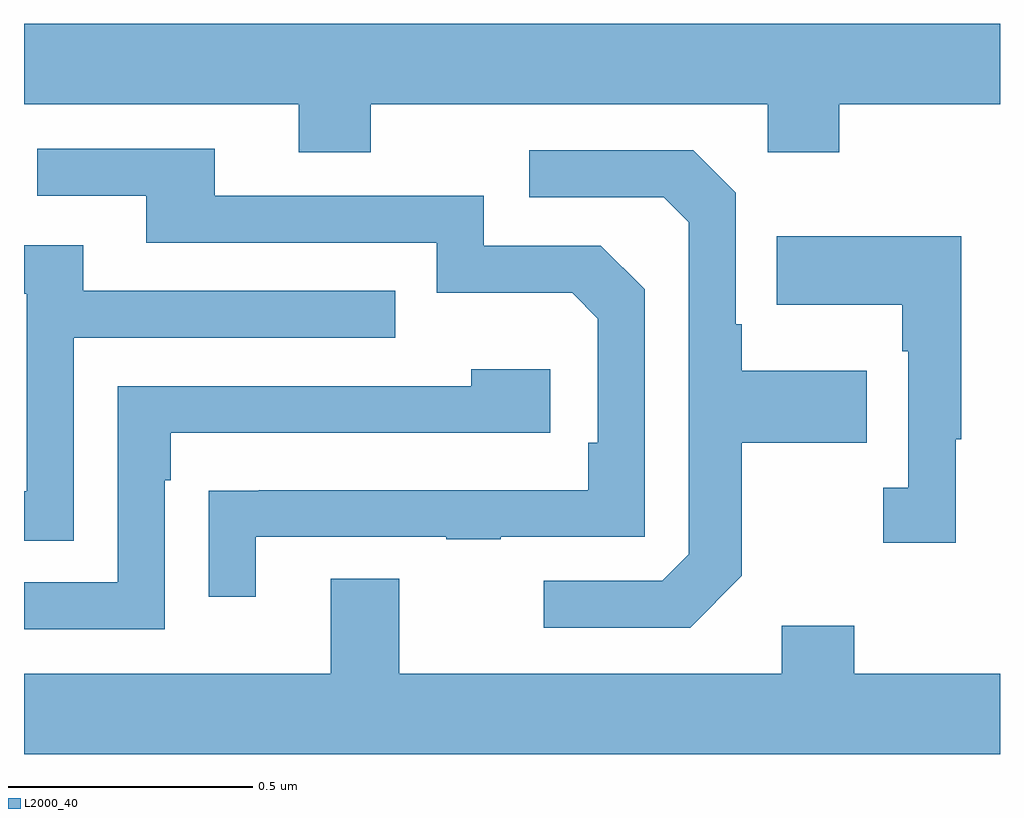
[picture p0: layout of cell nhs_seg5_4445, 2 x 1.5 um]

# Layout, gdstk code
import gdstk
lib = gdstk.Library(unit=1e-6, precision=1e-09)
def P(c, l, *ps):  # polygons
    for p in ps: c.add(gdstk.Polygon(p, *l))
L2000_40 = (2000, 40)

nhs_seg5_4445 = lib.new_cell('nhs_seg5_4445')
P(nhs_seg5_4445, L2000_40, [(171.711,835.448),(172.524,835.448),(172.524,835.349),(172.671,835.349),(172.671,835.448),(173,835.448),(173,835.612),(171,835.612),(171,835.448),(171.563,835.448),(171.563,835.349),(171.711,835.349)],
  [(171.475,834.561),(171.865,834.561),(171.865,834.556),(171.977,834.556),(171.977,834.561),(172.272,834.561),(172.272,835.068),(172.182,835.158),(171.942,835.158),(171.942,835.26),(171.391,835.26),(171.391,835.356),(171.027,835.356),(171.027,835.26),(171.251,835.26),(171.251,835.164),(171.846,835.164),(171.846,835.061),(172.123,835.061),(172.176,835.008),(172.176,834.754),(172.156,834.754),(172.156,834.657),(171.481,834.657),(171.481,834.656),(171.379,834.656),(171.379,834.438),(171.475,834.438)],
  [(172.471,834.481),(172.471,834.754),(172.727,834.754),(172.727,834.901),(172.471,834.901),(172.471,834.997),(172.458,834.997),(172.458,835.266),(172.371,835.353),(172.035,835.353),(172.035,835.257),(172.311,835.257),(172.362,835.206),(172.362,834.525),(172.308,834.471),(172.065,834.471),(172.065,834.375),(172.365,834.375)],
  [(172.909,834.761),(172.921,834.761),(172.921,835.177),(172.543,835.177),(172.543,835.037),(172.8,835.037),(172.8,834.941),(172.812,834.941),(172.812,834.662),(172.761,834.662),(172.761,834.549),(172.909,834.549)],
  [(171.102,834.969),(171.761,834.969),(171.761,835.065),(171.121,835.065),(171.121,835.159),(171,835.159),(171,835.059),(171.006,835.059),(171.006,834.654),(171,834.654),(171,834.553),(171.102,834.553)],
  [(171.288,834.677),(171.301,834.677),(171.301,834.774),(172.078,834.774),(172.078,834.904),(171.917,834.904),(171.917,834.87),(171.192,834.87),(171.192,834.468),(171,834.468),(171,834.372),(171.288,834.372)],
  [(173,834.28),(172.701,834.28),(172.701,834.379),(172.553,834.379),(172.553,834.28),(171.769,834.28),(171.769,834.475),(171.629,834.475),(171.629,834.28),(171,834.28),(171,834.116),(173,834.116)])

lib.write_gds('nhs_seg5_4445.gds')
